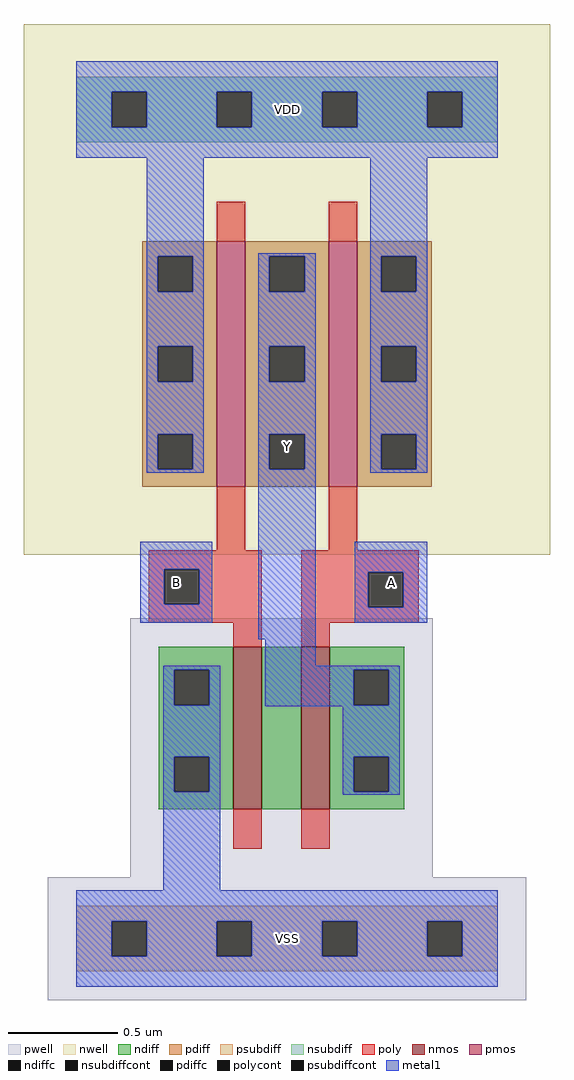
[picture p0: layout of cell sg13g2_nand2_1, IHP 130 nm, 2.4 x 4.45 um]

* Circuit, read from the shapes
.subckt sg13g2_nand2_1 Y VDD A VSS B
XM1 n1 B VSS VSS sg13_lv_nmos w=0.74u l=0.13u
XM2 Y A n1 VSS sg13_lv_nmos w=0.74u l=0.13u
XM3 Y B VDD VDD sg13_lv_pmos w=1.12u l=0.13u
XM4 VDD A Y VDD sg13_lv_pmos w=1.12u l=0.13u
.ends

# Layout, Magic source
magic
tech ihp-sg13g2
magscale 1 2
<< nwell >>
rect -48 350 432 834
<< pwell >>
rect 49 56 325 292
rect -26 -56 410 56
<< nmos >>
rect 143 118 169 266
rect 205 118 231 266
<< pmos >>
rect 128 412 154 636
rect 230 412 256 636
<< ndiff >>
rect 75 245 143 266
rect 75 213 89 245
rect 121 213 143 245
rect 75 166 143 213
rect 75 134 89 166
rect 121 134 143 166
rect 75 118 143 134
rect 169 118 205 266
rect 231 245 299 266
rect 231 213 253 245
rect 285 213 299 245
rect 231 166 299 213
rect 231 134 253 166
rect 285 134 299 166
rect 231 118 299 134
<< pdiff >>
rect 60 622 128 636
rect 60 590 74 622
rect 106 590 128 622
rect 60 540 128 590
rect 60 508 74 540
rect 106 508 128 540
rect 60 460 128 508
rect 60 428 74 460
rect 106 428 128 460
rect 60 412 128 428
rect 154 622 230 636
rect 154 590 176 622
rect 208 590 230 622
rect 154 540 230 590
rect 154 508 176 540
rect 208 508 230 540
rect 154 460 230 508
rect 154 428 176 460
rect 208 428 230 460
rect 154 412 230 428
rect 256 622 324 636
rect 256 590 278 622
rect 310 590 324 622
rect 256 540 324 590
rect 256 508 278 540
rect 310 508 324 540
rect 256 460 324 508
rect 256 428 278 460
rect 310 428 324 460
rect 256 412 324 428
<< ndiffc >>
rect 89 213 121 245
rect 89 134 121 166
rect 253 213 285 245
rect 253 134 285 166
<< pdiffc >>
rect 74 590 106 622
rect 74 508 106 540
rect 74 428 106 460
rect 176 590 208 622
rect 176 508 208 540
rect 176 428 208 460
rect 278 590 310 622
rect 278 508 310 540
rect 278 428 310 460
<< psubdiff >>
rect 0 16 384 30
rect 0 -16 32 16
rect 64 -16 128 16
rect 160 -16 224 16
rect 256 -16 320 16
rect 352 -16 384 16
rect 0 -30 384 -16
<< nsubdiff >>
rect 0 772 384 786
rect 0 740 32 772
rect 64 740 128 772
rect 160 740 224 772
rect 256 740 320 772
rect 352 740 384 772
rect 0 726 384 740
<< psubdiffcont >>
rect 32 -16 64 16
rect 128 -16 160 16
rect 224 -16 256 16
rect 320 -16 352 16
<< nsubdiffcont >>
rect 32 740 64 772
rect 128 740 160 772
rect 224 740 256 772
rect 320 740 352 772
<< poly >>
rect 128 636 154 672
rect 230 636 256 672
rect 128 354 154 412
rect 230 354 256 412
rect 66 337 169 354
rect 66 305 80 337
rect 112 305 169 337
rect 66 288 169 305
rect 143 266 169 288
rect 205 334 312 354
rect 205 302 266 334
rect 298 302 312 334
rect 205 288 312 302
rect 205 266 231 288
rect 143 82 169 118
rect 205 82 231 118
<< polycont >>
rect 80 305 112 337
rect 266 302 298 334
<< metal1 >>
rect 0 772 384 800
rect 0 740 32 772
rect 64 740 128 772
rect 160 740 224 772
rect 256 740 320 772
rect 352 740 384 772
rect 0 712 384 740
rect 64 622 116 712
rect 64 590 74 622
rect 106 590 116 622
rect 64 540 116 590
rect 64 508 74 540
rect 106 508 116 540
rect 64 460 116 508
rect 64 428 74 460
rect 106 428 116 460
rect 64 425 116 428
rect 166 622 218 625
rect 166 590 176 622
rect 208 590 218 622
rect 166 540 218 590
rect 166 508 176 540
rect 208 508 218 540
rect 166 460 218 508
rect 166 428 176 460
rect 208 428 218 460
rect 58 337 124 362
rect 58 305 80 337
rect 112 305 124 337
rect 58 288 124 305
rect 166 273 218 428
rect 268 622 320 712
rect 268 590 278 622
rect 310 590 320 622
rect 268 540 320 590
rect 268 508 278 540
rect 310 508 320 540
rect 268 460 320 508
rect 268 428 278 460
rect 310 428 320 460
rect 268 425 320 428
rect 254 334 320 362
rect 254 302 266 334
rect 298 302 320 334
rect 254 288 320 302
rect 172 249 218 273
rect 79 245 131 249
rect 79 213 89 245
rect 121 213 131 245
rect 79 166 131 213
rect 172 245 295 249
rect 172 213 253 245
rect 285 213 295 245
rect 172 212 295 213
rect 79 134 89 166
rect 121 134 131 166
rect 79 44 131 134
rect 243 166 295 212
rect 243 134 253 166
rect 285 134 295 166
rect 243 131 295 134
rect 0 16 384 44
rect 0 -16 32 16
rect 64 -16 128 16
rect 160 -16 224 16
rect 256 -16 320 16
rect 352 -16 384 16
rect 0 -44 384 -16
<< labels >>
flabel metal1 s 166 273 218 625 0 FreeSans 400 0 0 0 Y
port 2 nsew
flabel metal1 s 0 712 384 800 0 FreeSans 400 0 0 0 VDD
port 3 nsew
flabel metal1 s 254 288 320 362 0 FreeSans 400 0 0 0 A
port 4 nsew
flabel metal1 s 0 -44 384 44 0 FreeSans 400 0 0 0 VSS
port 5 nsew
flabel metal1 s 58 288 124 362 0 FreeSans 400 0 0 0 B
port 6 nsew
<< properties >>
string FIXED_BBOX 0 0 384 756
string GDS_END 73720
string GDS_FILE ../gds/controller.gds
string GDS_START 69874
<< end >>
